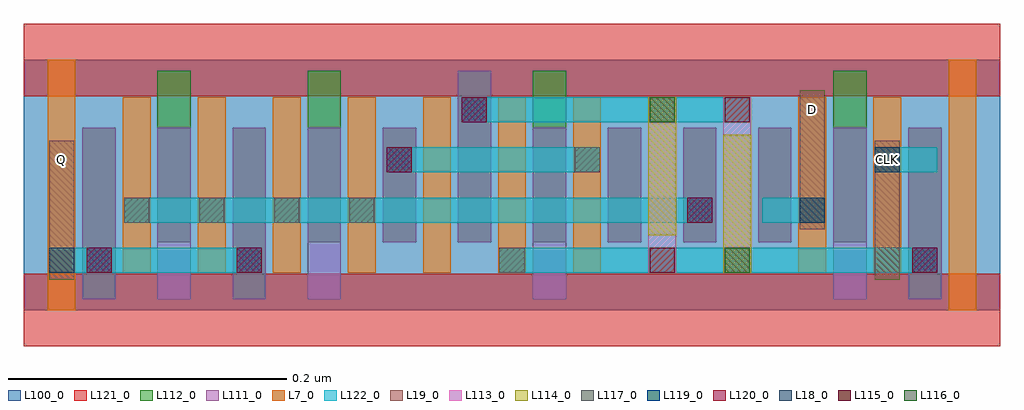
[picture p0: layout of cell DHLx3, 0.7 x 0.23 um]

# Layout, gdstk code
import gdstk
lib = gdstk.Library(unit=1e-6, precision=2.5e-10)
def R(c, l, rs):  # rectangles x0, y0, x1, y1
    for r in rs: c.add(gdstk.rectangle(r[:2], r[2:], *l))
def A(c, l, x, y, w, h, nx, ny, dx, dy):  # array of equal rectangles
    R(c, l, [(x+i*dx, y+j*dy, x+i*dx+w, y+j*dy+h) for i in range(nx) for j in range(ny)])
L7_0 = (7, 0)
L18_0 = (18, 0)
L19_0 = (19, 0)
L100_0 = (100, 0)
L111_0 = (111, 0)
L112_0 = (112, 0)
L113_0 = (113, 0)
L114_0 = (114, 0)
L115_0 = (115, 0)
L116_0 = (116, 0)
L117_0 = (117, 0)
L119_0 = (119, 0)
L120_0 = (120, 0)
L121_0 = (121, 0)
L122_0 = (122, 0)

dhlx3 = lib.new_cell('DHLx3')
A(dhlx3, L7_0, 0.071, 0.027, 0.02, 0.126, 7, 1, 0.054, 0)
R(dhlx3, L7_0, [(0.017,0,0.037,0.18), (0.665,0,0.685,0.18), (0.557,0.027,0.577,0.153), (0.611,0.027,0.631,0.153)])
R(dhlx3, L18_0, [(0.018,0.027,0.036,0.045), (0.558,0.063,0.576,0.081), (0.612,0.099,0.63,0.117)])
R(dhlx3, L19_0, [(0.018,0.022,0.036,0.122), (0.612,0.022,0.63,0.122), (0.558,0.058,0.576,0.158)])
R(dhlx3, L100_0, [(0,0,0.702,0.18)])
A(dhlx3, L111_0, 0.042, 0.008, 0.024, 0.123, 4, 1, 0.054, 0)
A(dhlx3, L111_0, 0.42, 0.049, 0.024, 0.082, 3, 1, 0.054, 0)
R(dhlx3, L111_0, [(0.366,0.008,0.39,0.131), (0.582,0.008,0.606,0.131), (0.636,0.008,0.66,0.131), (0.258,0.049,0.282,0.131), (0.312,0.049,0.336,0.172)])
A(dhlx3, L112_0, 0.096, 0.049, 0.024, 0.123, 3, 1, 0.108, 0)
A(dhlx3, L112_0, 0.42, 0.049, 0.024, 0.082, 3, 1, 0.054, 0)
R(dhlx3, L112_0, [(0.042,0.008,0.066,0.131), (0.15,0.008,0.174,0.131), (0.636,0.008,0.66,0.131), (0.258,0.049,0.282,0.131), (0.366,0.049,0.39,0.172), (0.582,0.049,0.606,0.172)])
R(dhlx3, L113_0, [(0.449,0.027,0.469,0.153), (0.503,0.027,0.523,0.153)])
R(dhlx3, L114_0, [(0.503,0.027,0.523,0.126), (0.449,0.054,0.469,0.153)])
R(dhlx3, L115_0, [(0.45,0.027,0.468,0.045), (0.504,0.135,0.522,0.153)])
R(dhlx3, L116_0, [(0.504,0.027,0.522,0.045), (0.45,0.135,0.468,0.153)])
A(dhlx3, L117_0, 0.072, 0.063, 0.018, 0.018, 4, 1, 0.054, 0)
R(dhlx3, L117_0, [(0.342,0.027,0.36,0.045), (0.558,0.063,0.576,0.081), (0.396,0.099,0.414,0.117), (0.612,0.099,0.63,0.117)])
R(dhlx3, L119_0, [(0.045,0.027,0.063,0.045), (0.153,0.027,0.171,0.045), (0.639,0.027,0.657,0.045), (0.477,0.063,0.495,0.081), (0.261,0.099,0.279,0.117), (0.315,0.135,0.333,0.153)])
R(dhlx3, L120_0, [(0.045,0.027,0.063,0.045), (0.153,0.027,0.171,0.045), (0.639,0.027,0.657,0.045), (0.477,0.063,0.495,0.081), (0.261,0.099,0.279,0.117), (0.315,0.135,0.333,0.153)])
R(dhlx3, L121_0, [(0,-0.026,0.702,0.026), (0,0.154,0.702,0.206)])
R(dhlx3, L122_0, [(0.018,0.027,0.171,0.045), (0.342,0.027,0.657,0.045), (0.072,0.063,0.495,0.081), (0.531,0.063,0.576,0.081), (0.261,0.099,0.414,0.117), (0.612,0.099,0.657,0.117), (0.315,0.135,0.522,0.153)])
dhlx3.add(gdstk.Label('Q', (0.027,0.108), layer=19, texttype=251))
dhlx3.add(gdstk.Label('D', (0.567,0.144), layer=19, texttype=251))
dhlx3.add(gdstk.Label('CLK', (0.621,0.108), layer=19, texttype=251))

lib.write_gds('DHLx3.gds')
